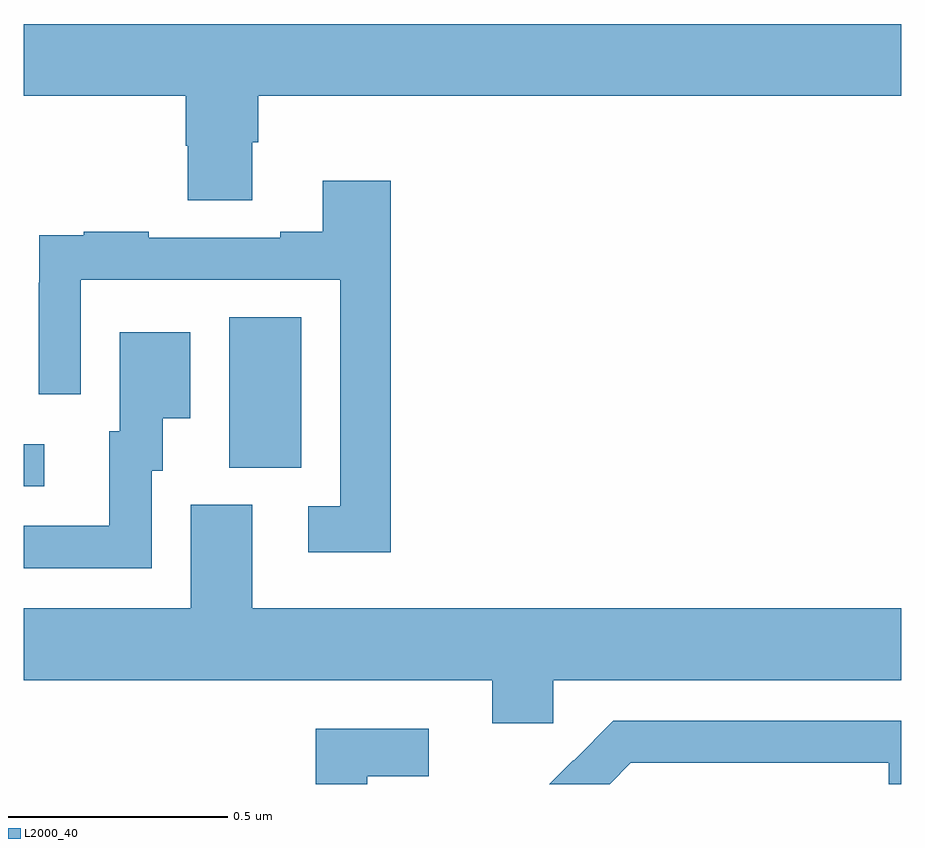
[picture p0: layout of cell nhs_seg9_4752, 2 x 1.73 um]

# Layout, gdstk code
import gdstk
lib = gdstk.Library(unit=1e-6, precision=1e-09)
def R(c, l, rs):  # rectangles x0, y0, x1, y1
    for r in rs: c.add(gdstk.rectangle(r[:2], r[2:], *l))
def P(c, l, *ps):  # polygons
    for p in ps: c.add(gdstk.Polygon(p, *l))
L2000_40 = (2000, 40)

nhs_seg9_4752 = lib.new_cell('nhs_seg9_4752')
R(nhs_seg9_4752, L2000_40, [(170,1214.178,170.047,1214.274), (170.468,1214.221,170.632,1214.564)])
P(nhs_seg9_4752, L2000_40, [(170.521,1214.962),(170.534,1214.962),(170.534,1215.068),(172,1215.068),(172,1215.232),(170,1215.232),(170,1215.068),(170.369,1215.068),(170.369,1214.955),(170.374,1214.955),(170.374,1214.83),(170.521,1214.83)],
  [(170.837,1214.875),(170.681,1214.875),(170.681,1214.758),(170.585,1214.758),(170.585,1214.745),(170.285,1214.745),(170.285,1214.758),(170.137,1214.758),(170.137,1214.751),(170.035,1214.751),(170.035,1214.642),(170.034,1214.642),(170.034,1214.388),(170.13,1214.388),(170.13,1214.649),(170.721,1214.649),(170.721,1214.133),(170.649,1214.133),(170.649,1214.028),(170.837,1214.028)],
  [(170.292,1214.214),(170.317,1214.214),(170.317,1214.333),(170.38,1214.333),(170.38,1214.53),(170.219,1214.53),(170.219,1214.304),(170.195,1214.304),(170.195,1214.088),(170,1214.088),(170,1213.992),(170.292,1213.992)],
  [(171.207,1213.736),(172,1213.736),(172,1213.9),(170.521,1213.9),(170.521,1214.136),(170.381,1214.136),(170.381,1213.9),(170,1213.9),(170,1213.736),(171.068,1213.736),(171.068,1213.638),(171.207,1213.638)],
  [(171.384,1213.548),(171.971,1213.548),(171.971,1213.5),(172,1213.5),(172,1213.644),(171.344,1213.644),(171.253,1213.553),(171.252,1213.554),(171.198,1213.5),(171.336,1213.5)],
  [(170.783,1213.518),(170.923,1213.518),(170.923,1213.626),(170.665,1213.626),(170.665,1213.5),(170.783,1213.5)])

lib.write_gds('nhs_seg9_4752.gds')
